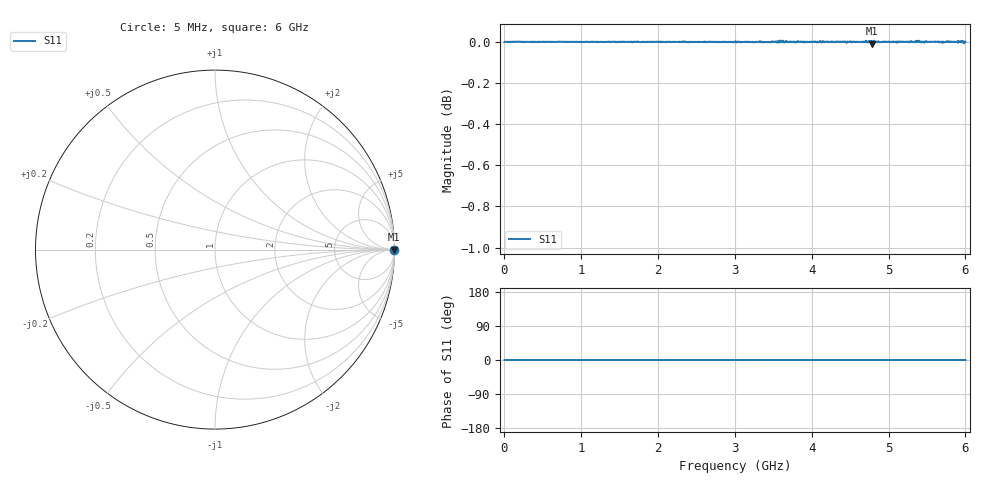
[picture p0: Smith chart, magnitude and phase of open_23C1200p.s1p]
# Hz S RI R 50.000000
! Metas.Vna.Tools, 3.0.9519.15400
! Metas.Vna.Data, 3.0.9519.15360
! Created: UTC 2026.10.23 21:43:49
! FREQ  re:S1,1  im:S1,1
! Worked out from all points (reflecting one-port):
!   1200 points, 5 MHz to 6 GHz, reference 50 ohm
!   lowest |S11| = 0.0 dB at 4.785 GHz (marker M1)
!   phase of S11 starts at 0 deg and turns -0 deg over the sweep
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5000000  1 7.83e-05
7.55e8  1 -6.98e-05
1.505e9  1 8.76e-05
2.255e9  1 9.46e-05
3.005e9  0.9998 0.000295
3.325e9  1 -3.76e-05
3.43e9  0.9999 6.34e-05
3.51e9  1 3.5e-05
3.55e9  0.9996 0.000436
3.615e9  1 8.68e-05
3.66e9  0.9999 0.00028
3.725e9  0.9999 5.31e-05
3.755e9  1 7.26e-06
3.82e9  0.9999 0.00014
4.09e9  0.9999 9.4e-06
4.165e9  1 7.07e-05
4.505e9  1 0.000276
4.7e9  1 0.000153
4.785e9  0.999 -0.000242
4.85e9  1 0.000207
5.255e9  1 0.000216
5.38e9  1 -0.000199
5.445e9  0.9998 -0.000141
5.62e9  1 3.52e-05
5.715e9  1 0.000384
5.775e9  1 -4.11e-05
5.94e9  1 0.000232
6e9  1 -0.000352
